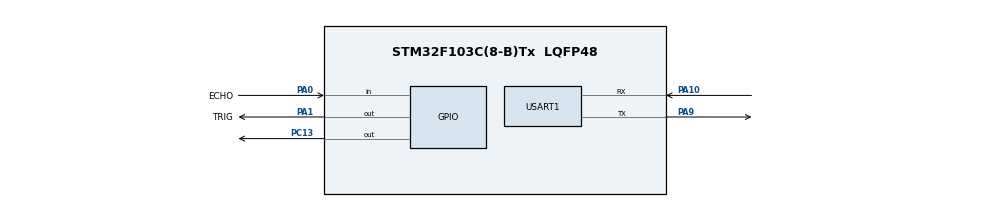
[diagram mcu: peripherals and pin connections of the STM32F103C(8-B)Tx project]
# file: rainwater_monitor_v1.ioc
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Mcu.Family=STM32F1
Mcu.Name=STM32F103C(8-B)Tx
Mcu.Package=LQFP48
NVIC.PriorityGroup=NVIC_PRIORITYGROUP_4
PA0-WKUP.GPIO_Label=ECHO
PA0-WKUP.Signal=GPIO_Input
PA1.GPIO_Label=TRIG
PA1.Signal=GPIO_Output
PA10.Mode=Asynchronous
PA10.Signal=USART1_RX
PA13.Mode=Serial_Wire
PA13.Signal=SYS_JTMS-SWDIO
PA14.Mode=Serial_Wire
PA14.Signal=SYS_JTCK-SWCLK
PA9.Mode=Asynchronous
PA9.Signal=USART1_TX
PC13-TAMPER-RTC.Signal=GPIO_Output
ProjectManager.HeapSize=0x200
ProjectManager.StackSize=0x400
ProjectManager.TargetToolchain=STM32CubeIDE
RCC.APB1Freq_Value=8000000
RCC.APB2Freq_Value=8000000
TIM2.Period=65535
TIM2.Prescaler=7
USART1.VirtualMode=VM_ASYNC
VP_TIM2_VS_ClockSourceINT.Mode=Internal
board=custom

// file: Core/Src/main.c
/* USER CODE BEGIN Header */
/**
  ******************************************************************************
  * @file           : main.c
  * @brief          : Main program body
  ******************************************************************************
  * @attention
  *
  * <h2><center>&copy; Copyright (c) 2026 STMicroelectronics.
  * All rights reserved.</center></h2>
  *
  * This software component is licensed by ST under BSD 3-Clause license,
  * the "License"; You may not use this file except in compliance with the
  * License. You may obtain a copy of the License at:
  *                        opensource.org/licenses/BSD-3-Clause
  *
  ******************************************************************************
  */
/* USER CODE END Header */

#include "main.h"

/* USER CODE BEGIN Includes */
#include <stdio.h>
#include <string.h>
/* USER CODE END Includes */

TIM_HandleTypeDef htim2;

UART_HandleTypeDef huart1;

void SystemClock_Config(void);
static void MX_GPIO_Init(void);
static void MX_USART1_UART_Init(void);
static void MX_TIM2_Init(void);

/* USER CODE BEGIN 0 */

uint32_t GetDistanceCM(void)
{
    uint32_t timeout = 0;
    uint32_t echo_time = 0;
    uint32_t distance_cm = 0;

    HAL_GPIO_WritePin(GPIOA, GPIO_PIN_1, GPIO_PIN_RESET);
    HAL_Delay(2);

    HAL_GPIO_WritePin(GPIOA, GPIO_PIN_1, GPIO_PIN_SET);
    __HAL_TIM_SET_COUNTER(&htim2, 0);
    while (__HAL_TIM_GET_COUNTER(&htim2) < 10) {}
    HAL_GPIO_WritePin(GPIOA, GPIO_PIN_1, GPIO_PIN_RESET);

    timeout = 0;
    while (HAL_GPIO_ReadPin(GPIOA, GPIO_PIN_0) == GPIO_PIN_RESET)
    {
        timeout++;
        if (timeout > 100000)
            return 0;
    }

    __HAL_TIM_SET_COUNTER(&htim2, 0);

    while (HAL_GPIO_ReadPin(GPIOA, GPIO_PIN_0) == GPIO_PIN_SET)
    {
        if (__HAL_TIM_GET_COUNTER(&htim2) > 60000)
            return 0;
    }

    echo_time = __HAL_TIM_GET_COUNTER(&htim2);
    distance_cm = echo_time / 58;

    return distance_cm;
}

/* USER CODE END 0 */

int main(void)
{

  /* MCU Configuration--------------------------------------------------------*/

  /* Reset of all peripherals, Initializes the Flash interface and the Systick. */
  HAL_Init();

  /* Configure the system clock */
  SystemClock_Config();

  /* Initialize all configured peripherals */
  MX_GPIO_Init();
  MX_USART1_UART_Init();
  MX_TIM2_Init();
  /* USER CODE BEGIN 2 */

  HAL_TIM_Base_Start(&htim2);

  char msg[] = "Rainwater monitor started\r\n";
  HAL_UART_Transmit(&huart1, (uint8_t*)msg, strlen(msg), 1000);

  /* USER CODE END 2 */

  /* Infinite loop */
  while (1)
  {

    /* USER CODE BEGIN 3 */
	  while (1)
	  {
	      uint32_t distance_cm;
	      uint32_t water_level_cm;
	      uint32_t fill_percent;
	      uint32_t volume_ml;
	      char msg[100];

	      const uint32_t DISTANCE_EMPTY = 16;
	      const uint32_t DISTANCE_FULL  = 2;

	      distance_cm = GetDistanceCM();

	      if (distance_cm >= DISTANCE_EMPTY || distance_cm == 0)
	      {
	          water_level_cm = 0;
	          fill_percent = 0;
	      }
	      else if (distance_cm <= DISTANCE_FULL)
	      {
	          water_level_cm = DISTANCE_EMPTY - DISTANCE_FULL;
	          fill_percent = 100;
	      }
	      else
	      {
	          water_level_cm = DISTANCE_EMPTY - distance_cm;
	          fill_percent =
	              ((DISTANCE_EMPTY - distance_cm) * 100) /
	              (DISTANCE_EMPTY - DISTANCE_FULL);
	      }

	      volume_ml = (uint32_t)(3.1416f * 5.75f * 5.75f * water_level_cm);

	      sprintf(msg,
	              "Distance=%lu cm Level=%lu cm Fill=%lu%% Volume=%lu ml\r\n",
	              distance_cm,
	              water_level_cm,
	              fill_percent,
	              volume_ml);

	      HAL_UART_Transmit(&huart1,
	                        (uint8_t*)msg,
	                        strlen(msg),
	                        1000);

	      HAL_Delay(500);
	  }
	  }
  /* USER CODE END 3 */
}

void SystemClock_Config(void)
{
  RCC_OscInitTypeDef RCC_OscInitStruct = {0};
  RCC_ClkInitTypeDef RCC_ClkInitStruct = {0};

  /** Initializes the CPU, AHB and APB busses clocks
  */
  RCC_OscInitStruct.OscillatorType = RCC_OSCILLATORTYPE_HSI;
  RCC_OscInitStruct.HSIState = RCC_HSI_ON;
  RCC_OscInitStruct.HSICalibrationValue = RCC_HSICALIBRATION_DEFAULT;
  RCC_OscInitStruct.PLL.PLLState = RCC_PLL_NONE;
  if (HAL_RCC_OscConfig(&RCC_OscInitStruct) != HAL_OK)
  {
    Error_Handler();
  }
  /** Initializes the CPU, AHB and APB busses clocks
  */
  RCC_ClkInitStruct.ClockType = RCC_CLOCKTYPE_HCLK|RCC_CLOCKTYPE_SYSCLK
                              |RCC_CLOCKTYPE_PCLK1|RCC_CLOCKTYPE_PCLK2;
  RCC_ClkInitStruct.SYSCLKSource = RCC_SYSCLKSOURCE_HSI;
  RCC_ClkInitStruct.AHBCLKDivider = RCC_SYSCLK_DIV1;
  RCC_ClkInitStruct.APB1CLKDivider = RCC_HCLK_DIV1;
  RCC_ClkInitStruct.APB2CLKDivider = RCC_HCLK_DIV1;

  if (HAL_RCC_ClockConfig(&RCC_ClkInitStruct, FLASH_LATENCY_0) != HAL_OK)
  {
    Error_Handler();
  }
}

static void MX_TIM2_Init(void)
{

  TIM_ClockConfigTypeDef sClockSourceConfig = {0};
  TIM_MasterConfigTypeDef sMasterConfig = {0};

  htim2.Instance = TIM2;
  htim2.Init.Prescaler = 7;
  htim2.Init.CounterMode = TIM_COUNTERMODE_UP;
  htim2.Init.Period = 65535;
  htim2.Init.ClockDivision = TIM_CLOCKDIVISION_DIV1;
  htim2.Init.AutoReloadPreload = TIM_AUTORELOAD_PRELOAD_DISABLE;
  if (HAL_TIM_Base_Init(&htim2) != HAL_OK)
  {
    Error_Handler();
  }
  sClockSourceConfig.ClockSource = TIM_CLOCKSOURCE_INTERNAL;
  if (HAL_TIM_ConfigClockSource(&htim2, &sClockSourceConfig) != HAL_OK)
  {
    Error_Handler();
  }
  sMasterConfig.MasterOutputTrigger = TIM_TRGO_RESET;
  sMasterConfig.MasterSlaveMode = TIM_MASTERSLAVEMODE_DISABLE;
  if (HAL_TIMEx_MasterConfigSynchronization(&htim2, &sMasterConfig) != HAL_OK)
  {
    Error_Handler();
  }

}

static void MX_USART1_UART_Init(void)
{

  huart1.Instance = USART1;
  huart1.Init.BaudRate = 115200;
  huart1.Init.WordLength = UART_WORDLENGTH_8B;
  huart1.Init.StopBits = UART_STOPBITS_1;
  huart1.Init.Parity = UART_PARITY_NONE;
  huart1.Init.Mode = UART_MODE_TX_RX;
  huart1.Init.HwFlowCtl = UART_HWCONTROL_NONE;
  huart1.Init.OverSampling = UART_OVERSAMPLING_16;
  if (HAL_UART_Init(&huart1) != HAL_OK)
  {
    Error_Handler();
  }

}

static void MX_GPIO_Init(void)
{
  GPIO_InitTypeDef GPIO_InitStruct = {0};

  /* GPIO Ports Clock Enable */
  __HAL_RCC_GPIOC_CLK_ENABLE();
  __HAL_RCC_GPIOA_CLK_ENABLE();

  /*Configure GPIO pin Output Level */
  HAL_GPIO_WritePin(GPIOC, GPIO_PIN_13, GPIO_PIN_RESET);

  /*Configure GPIO pin Output Level */
  HAL_GPIO_WritePin(TRIG_GPIO_Port, TRIG_Pin, GPIO_PIN_RESET);

  /*Configure GPIO pin : PC13 */
  GPIO_InitStruct.Pin = GPIO_PIN_13;
  GPIO_InitStruct.Mode = GPIO_MODE_OUTPUT_PP;
  GPIO_InitStruct.Pull = GPIO_NOPULL;
  GPIO_InitStruct.Speed = GPIO_SPEED_FREQ_LOW;
  HAL_GPIO_Init(GPIOC, &GPIO_InitStruct);

  /*Configure GPIO pin : ECHO_Pin */
  GPIO_InitStruct.Pin = ECHO_Pin;
  GPIO_InitStruct.Mode = GPIO_MODE_INPUT;
  GPIO_InitStruct.Pull = GPIO_NOPULL;
  HAL_GPIO_Init(ECHO_GPIO_Port, &GPIO_InitStruct);

  /*Configure GPIO pin : TRIG_Pin */
  GPIO_InitStruct.Pin = TRIG_Pin;
  GPIO_InitStruct.Mode = GPIO_MODE_OUTPUT_PP;
  GPIO_InitStruct.Pull = GPIO_NOPULL;
  GPIO_InitStruct.Speed = GPIO_SPEED_FREQ_LOW;
  HAL_GPIO_Init(TRIG_GPIO_Port, &GPIO_InitStruct);

}

void Error_Handler(void)
{
}

/************************ (C) COPYRIGHT STMicroelectronics *****END OF FILE****/
